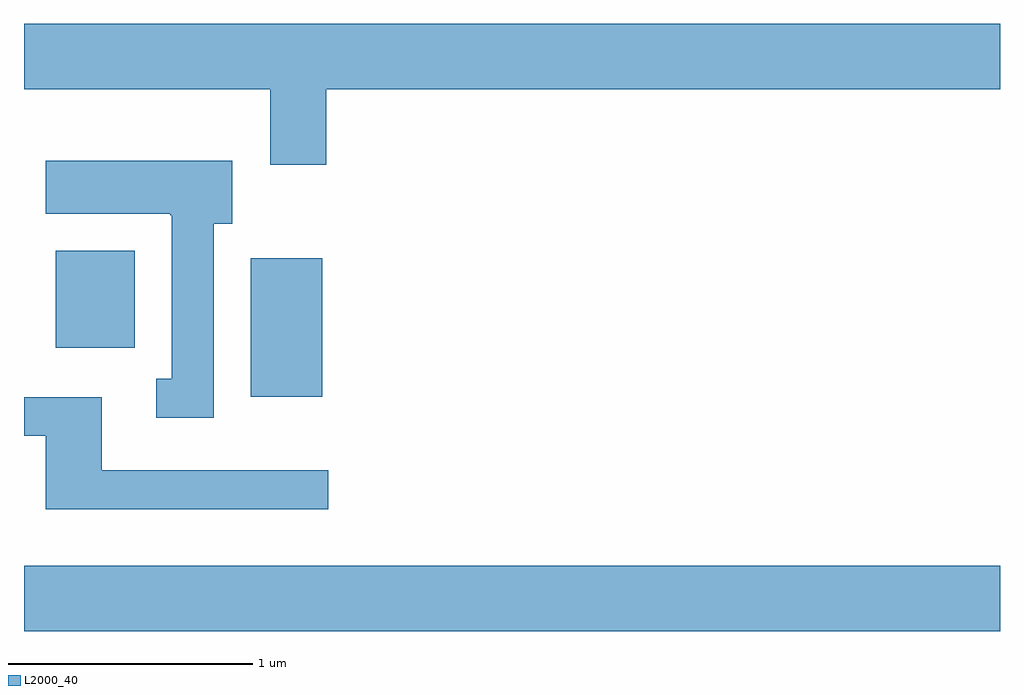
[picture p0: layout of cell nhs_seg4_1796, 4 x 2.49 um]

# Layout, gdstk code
import gdstk
lib = gdstk.Library(unit=1e-6, precision=1e-09)
def R(c, l, rs):  # rectangles x0, y0, x1, y1
    for r in rs: c.add(gdstk.rectangle(r[:2], r[2:], *l))
def P(c, l, *ps):  # polygons
    for p in ps: c.add(gdstk.Polygon(p, *l))
L2000_40 = (2000, 40)

nhs_seg4_1796 = lib.new_cell('nhs_seg4_1796')
R(nhs_seg4_1796, L2000_40, [(237.611,1310.276,241.611,1310.544), (238.541,1311.236,238.834,1311.804), (237.741,1311.436,238.064,1311.834)])
P(nhs_seg4_1796, L2000_40, [(238.849,1312.496),(241.611,1312.496),(241.611,1312.764),(237.611,1312.764),(237.611,1312.496),(238.621,1312.496),(238.621,1312.186),(238.849,1312.186)],
  [(238.389,1311.946),(238.464,1311.946),(238.464,1312.204),(237.701,1312.204),(237.701,1311.986),(238.21,1311.986),(238.21,1311.98),(238.216,1311.98),(238.216,1311.309),(238.153,1311.309),(238.153,1311.151),(238.389,1311.151)],
  [(238.858,1310.934),(237.929,1310.934),(237.929,1311.234),(237.611,1311.234),(237.611,1311.076),(237.701,1311.076),(237.701,1310.776),(238.858,1310.776)])

lib.write_gds('nhs_seg4_1796.gds')
